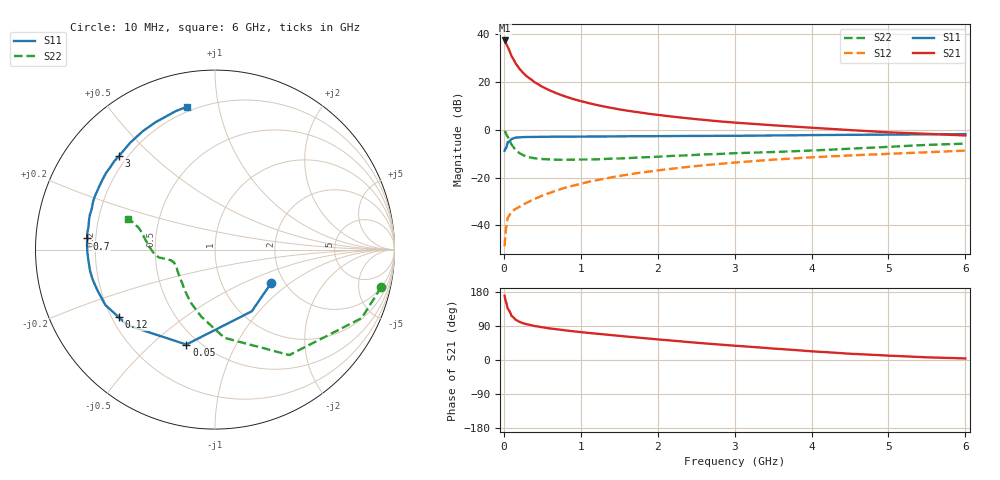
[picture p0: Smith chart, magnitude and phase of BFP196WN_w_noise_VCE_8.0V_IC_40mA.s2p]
! (c) 2017  Infineon Technologies AG, Munich
! Infineon Technologies  Discrete & RF Semiconductors
! BFP196WN
! VCE =  8.0 V,  IC =  40 mA
! Common Emitter S-Parameters:  Jan 2017
# GHz  S  MA  R  50
!  f  S11  S21  S12  S22
! GHz  MAG  ANG  MAG  ANG  MAG  ANG  MAG  ANG
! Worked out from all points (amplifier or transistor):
!   77 points, 10 MHz to 6 GHz, reference 50 ohm
!   highest |S21| = 37.3 dB at 10 MHz (marker M1)
!   |S21| within 3 dB of that: start of sweep to 54.99 MHz
!   unconditionally stable (mu >= 1): 745.7 MHz to 2.626 GHz
!   at 130 MHz: K = 0.47, MSG = 31.4 dB, |S12| = -33.6 dB
!   at 2.2 GHz: K = 1.02, MAG = 10.0 dB, |S12| = -16.2 dB
!   at 6 GHz: K = 0.90, MSG = 3.2 dB, |S12| = -8.7 dB
!   lowest NFmin = 1.16 dB at 450 MHz
!   S11 on the Smith chart (normalised r, x): 10 MHz: 1.70, -0.74; 50 MHz: 0.43, -0.65; 120 MHz: 0.23, -0.30; 700 MHz: 0.17, +0.04; 3 GHz: 0.17, +0.40; 6 GHz: 0.17, +0.81
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0.01  0.3641 -31.2  73.25 169.6  0.0037 79.3  0.9493 -12.7
0.02  0.4002 -59.2  67.94 158.9  0.0065 74.7  0.902 -25.0
0.05  0.5525 -106.8  54.01 135.8  0.0143 57.8  0.7189 -54.8
0.1  0.6445 -139.2  34.59 116.3  0.0192 46.5  0.4944 -83.9
0.12  0.6558 -145.0  30.59 113.2  0.0204 46.6  0.4445 -89.9
0.15  0.6848 -153.3  24.81 106.8  0.0221 46.7  0.3816 -101.5
0.2  0.6934 -161.0  19.06 101.1  0.0244 48.1  0.3273 -113.8
0.25  0.7017 -166.2  15.45 97.1  0.0272 50.5  0.2954 -122.3
0.3  0.706 -170.1  12.97 94.2  0.03 53.3  0.2731 -129.6
0.4  0.7083 -175.5  9.835 89.6  0.0357 57.7  0.2532 -139.0
0.5  0.7118 -179.3  7.889 86.3  0.042 60.5  0.2443 -145.9
0.6  0.7138 177.5  6.595 83.3  0.0482 62.2  0.2399 -150.8
0.7  0.715 175.0  5.647 80.8  0.0548 64.2  0.2362 -154.3
0.9  0.716 169.9  4.394 75.8  0.068 65.9  0.2375 -158.7
1.1  0.7218 166.2  3.607 71.6  0.0817 66.5  0.2392 -162.2
1.5  0.7288 159.1  2.666 63.8  0.1082 65.9  0.251 -166.3
2.1  0.7366 149.3  1.956 52.7  0.1479 63.1  0.279 -169.4
3  0.747 135.8  1.411 37.7  0.2062 56.9  0.3239 -173.3
3.1  0.7486 134.3  1.375 36.4  0.2123 56.1  0.3275 -174.1
4.1  0.7744 119.9  1.077 21.7  0.2703 47.9  0.3742 175.6
5.1  0.7931 109.0  0.871 10.7  0.3184 40.5  0.4476 163.7
6  0.8109 100.9  0.758 4.1  0.3667 34.5  0.5129 160.4
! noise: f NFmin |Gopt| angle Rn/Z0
0.45  1.16  0.5  -179  0.04
0.9  1.29  0.54  -173  0.05
1.9  2.21  0.68  -148  0.13
2.4  2.95  0.69  -141  0.26
